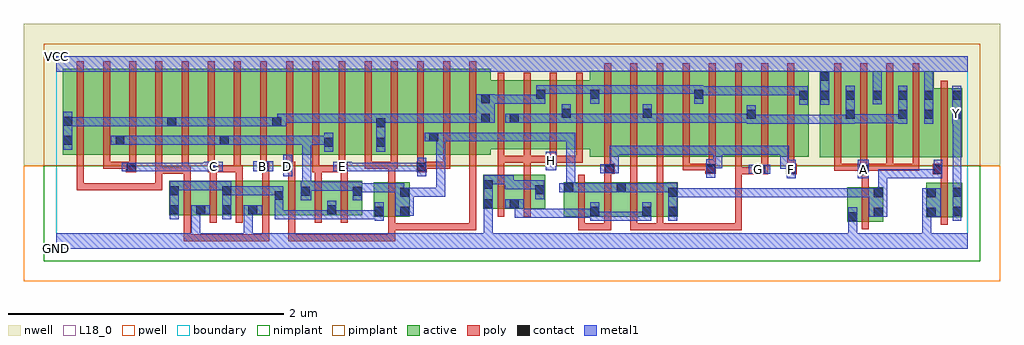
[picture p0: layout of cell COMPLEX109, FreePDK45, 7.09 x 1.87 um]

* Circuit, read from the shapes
.subckt COMPLEX109 A B C D E F G GND H VCC Y
M1 GND B n1 VSUBS nfet w=0.25u l=0.05u m=2
M2 n1 C GND VSUBS nfet w=0.25u l=0.05u m=2
M3 n2 D n1 VSUBS nfet w=0.25u l=0.05u m=2
M4 n1 E n2 VSUBS nfet w=0.25u l=0.05u m=2
M5 n3 H GND VSUBS nfet w=0.25u l=0.05u m=2
M6 n3 F n2 VSUBS nfet w=0.25u l=0.05u m=2
M7 n3 G n2 VSUBS nfet w=0.25u l=0.05u m=2
M8 n2 A GND VSUBS nfet w=0.25u l=0.05u
M9 Y n2 GND VSUBS nfet w=0.25u l=0.05u
M10 n4 B n5 n6 pfet w=0.625u l=0.05u
M11 n2 C n4 n6 pfet w=0.625u l=0.05u
M12 n7 C n2 n6 pfet w=0.625u l=0.05u
M13 n5 B n7 n6 pfet w=0.625u l=0.05u
M14 n8 B n5 n6 pfet w=0.625u l=0.05u
M15 n2 C n8 n6 pfet w=0.625u l=0.05u
M16 n9 C n2 n6 pfet w=0.625u l=0.05u
M17 n5 B n9 n6 pfet w=0.625u l=0.05u
M18 n10 D n5 n6 pfet w=0.625u l=0.05u
M19 n2 E n10 n6 pfet w=0.625u l=0.05u
M20 n11 E n2 n6 pfet w=0.625u l=0.05u
M21 n5 D n11 n6 pfet w=0.625u l=0.05u
M22 n12 D n5 n6 pfet w=0.625u l=0.05u
M23 n2 E n12 n6 pfet w=0.625u l=0.05u
M24 n13 E n2 n6 pfet w=0.625u l=0.05u
M25 n5 D n13 n6 pfet w=0.625u l=0.05u
M26 n14 H n5 n6 pfet w=0.5u l=0.05u m=4
M27 n15 F n5 n6 pfet w=0.625u l=0.05u
M28 n14 G n15 n6 pfet w=0.625u l=0.05u
M29 n16 G n14 n6 pfet w=0.625u l=0.05u
M30 n5 F n16 n6 pfet w=0.625u l=0.05u
M31 n17 F n5 n6 pfet w=0.625u l=0.05u
M32 n14 G n17 n6 pfet w=0.625u l=0.05u
M33 n18 G n14 n6 pfet w=0.625u l=0.05u
M34 n5 F n18 n6 pfet w=0.625u l=0.05u
M35 n14 A VCC n6 pfet w=0.625u l=0.05u m=4
M36 Y n2 VCC n6 pfet w=0.5u l=0.05u
.ends

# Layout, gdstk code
import gdstk
lib = gdstk.Library(unit=1e-6, precision=1e-09)
def R(c, l, rs):  # rectangles x0, y0, x1, y1
    for r in rs: c.add(gdstk.rectangle(r[:2], r[2:], *l))
def A(c, l, x, y, w, h, nx, ny, dx, dy):  # array of equal rectangles
    R(c, l, [(x+i*dx, y+j*dy, x+i*dx+w, y+j*dy+h) for i in range(nx) for j in range(ny)])
active = (1, 0)
pwell = (2, 0)
nwell = (3, 0)
nimplant = (4, 0)
pimplant = (5, 0)
poly = (9, 0)
contact = (10, 0)
metal1 = (11, 0)
L18_0 = (18, 0)
boundary = (235, 0)

complex109 = lib.new_cell('COMPLEX109')
A(complex109, active, 0.82, 0.245, 0.265, 0.25, 4, 1, 0.19, 0)
A(complex109, active, 4.48, 0.67, 0.225, 0.625, 3, 1, 0.38, 0)
R(complex109, active, [(5.747,0.197,5.822,0.447), (5.747,0.197,6.007,0.447), (5.932,0.2,6.007,0.447), (6.32,0.23,6.395,0.48), (6.32,0.23,6.58,0.48), (6.505,0.23,6.58,0.48), (2.307,0.235,2.382,0.485), (2.307,0.235,2.567,0.485), (2.492,0.235,2.567,0.485), (3.685,0.235,3.95,0.485), (3.875,0.235,4.14,0.485), (3.875,0.235,3.95,0.405), (4.065,0.235,4.325,0.485), (4.25,0.235,4.515,0.485), (4.25,0.235,4.325,0.387), (4.44,0.235,4.515,0.485), (0.82,0.245,0.895,0.495), (1.01,0.245,1.085,0.387), (1.2,0.245,1.275,0.495), (1.39,0.245,1.465,0.387), (1.58,0.245,1.847,0.495), (1.772,0.245,2.037,0.495), (1.962,0.245,2.222,0.495), (1.962,0.245,2.037,0.467), (1.58,0.28,1.655,0.425), (3.1,0.29,3.175,0.54), (3.1,0.29,3.365,0.54), (3.29,0.29,3.365,0.54), (3.29,0.29,3.55,0.54), (1.772,0.297,1.847,0.457), (2.147,0.297,2.222,0.495), (3.475,0.297,3.55,0.54), (3.685,0.297,3.76,0.485), (4.065,0.297,4.14,0.48), (5.545,0.667,5.805,1.292), (5.545,0.667,5.62,1.292), (5.73,0.667,6,1.292), (5.925,0.667,6.185,1.292), (6.11,0.667,6.375,1.292), (6.3,0.667,6.58,1.167), (6.505,0.667,6.58,1.157), (3.875,0.67,4.1,1.295), (4.1,0.67,4.33,1.295), (4.255,0.67,4.48,1.295), (4.63,0.67,4.86,1.295), (5.01,0.67,5.24,1.295), (5.39,0.67,5.465,1.2), (0.045,0.682,0.27,1.307), (0.045,0.682,0.15,1.2), (0.27,0.682,0.5,1.307), (0.425,0.682,0.65,1.307), (0.425,0.682,0.5,1.07), (0.65,0.682,0.877,1.307), (0.802,0.682,0.877,1.2), (0.802,0.682,1.03,1.307), (1.03,0.682,1.257,1.307), (1.182,0.682,1.257,1.07), (1.182,0.682,1.41,1.307), (1.41,0.682,1.64,1.307), (1.565,0.682,1.64,1.2), (1.565,0.682,1.79,1.307), (1.79,0.682,2.015,1.307), (1.94,0.682,2.17,1.307), (1.94,0.682,2.015,1.07), (2.17,0.682,2.395,1.307), (2.32,0.682,2.395,1.2), (2.32,0.682,2.55,1.307), (2.55,0.682,2.78,1.307), (2.705,0.682,2.93,1.307), (2.705,0.682,2.78,1.07), (2.93,0.682,3.155,1.307), (4.255,0.682,4.33,1.07), (4.63,0.682,4.705,1.2), (5.01,0.682,5.085,1.07), (5.73,0.682,5.805,1.2), (5.925,0.682,6,1.282), (6.11,0.682,6.185,1.2), (3.08,0.725,3.365,1.225), (3.29,0.725,3.555,1.225), (3.48,0.725,3.74,1.225), (3.665,0.725,3.95,1.225), (3.48,0.737,3.555,1.16), (3.08,0.807,3.155,1.2), (3.29,0.807,3.365,1.07), (3.665,0.807,3.74,1.07), (3.875,0.807,3.95,1.2), (6.3,0.807,6.375,1.157)])
R(complex109, pwell, [(-0.235,-0.235,6.855,0.602)])
R(complex109, nwell, [(-0.235,0.602,6.855,1.635)])
R(complex109, nimplant, [(-0.09,-0.09,6.71,0.602)])
R(complex109, pimplant, [(-0.09,0.602,6.71,1.49)])
A(complex109, poly, 3.79, 0.135, 0.05, 0.095, 4, 1, 0.19, 0)
A(complex109, poly, 3.79, 0.135, 0.05, 0.05, 3, 1, 0.19, 0)
A(complex109, poly, 3.79, 0.18, 0.05, 0.36, 4, 1, 0.19, 0)
A(complex109, poly, 0.925, 0.19, 0.05, 0.36, 5, 1, 0.19, 0)
A(complex109, poly, 1.115, 0.5, 0.05, 0.107, 4, 1, 0.19, 0)
A(complex109, poly, 5.65, 0.567, 0.05, 0.095, 4, 1, 0.19, 0)
A(complex109, poly, 4.36, 0.57, 0.05, 0.095, 3, 1, 0.19, 0)
A(complex109, poly, 2.05, 0.582, 0.05, 0.095, 5, 1, 0.19, 0)
A(complex109, poly, 5.65, 0.612, 0.05, 0.735, 4, 1, 0.19, 0)
A(complex109, poly, 3.98, 0.615, 0.05, 0.735, 8, 1, 0.19, 0)
A(complex109, poly, 3.205, 0.625, 0.05, 0.095, 4, 1, 0.19, 0)
A(complex109, poly, 0.15, 0.627, 0.05, 0.735, 16, 1, 0.19, 0)
A(complex109, poly, 3.205, 0.67, 0.05, 0.61, 4, 1, 0.19, 0)
R(complex109, poly, [(0.925,0.057,0.975,0.107), (0.925,0.057,0.975,0.24), (0.925,0.057,1.045,0.107), (0.995,0.057,1.045,0.107), (0.995,0.057,1.107,0.107), (1.057,0.057,1.107,0.107), (1.057,0.057,1.387,0.107), (1.337,0.057,1.387,0.107), (1.337,0.057,1.387,0.107), (1.337,0.057,1.387,0.107), (1.337,0.057,1.545,0.107), (1.495,0.057,1.545,0.107), (1.495,0.057,1.545,0.107), (1.495,0.057,1.545,0.107), (1.495,0.057,1.545,0.24), (1.685,0.057,1.735,0.107), (1.685,0.057,1.735,0.107), (1.685,0.057,1.735,0.107), (1.685,0.057,1.96,0.107), (1.685,0.057,1.735,0.24), (1.91,0.057,1.96,0.107), (1.91,0.057,1.96,0.107), (1.91,0.057,1.96,0.107), (1.91,0.057,2.157,0.107), (2.107,0.057,2.157,0.107), (2.107,0.057,2.157,0.107), (2.107,0.057,2.157,0.107), (2.107,0.057,2.33,0.107), (2.28,0.057,2.33,0.107), (2.28,0.057,2.33,0.107), (2.28,0.057,2.33,0.107), (2.28,0.057,2.462,0.107), (2.412,0.057,2.462,0.185), (2.412,0.135,2.462,0.23), (2.412,0.135,2.595,0.185), (2.545,0.135,2.595,0.185), (2.545,0.135,2.595,0.185), (2.545,0.135,2.595,0.185), (2.545,0.135,2.825,0.185), (2.775,0.135,2.825,0.185), (2.775,0.135,2.825,0.185), (2.775,0.135,2.825,0.185), (2.775,0.135,3.05,0.185), (3,0.135,3.05,0.185), (3,0.135,3.05,0.185), (3,0.135,3.05,0.185), (3,0.135,3.05,0.185), (3,0.135,3.05,0.185), (3,0.135,3.05,0.185), (3,0.135,3.05,0.185), (3,0.135,3.05,0.185), (3,0.135,3.05,0.185), (3,0.135,3.05,0.677), (3.79,0.135,3.84,0.185), (3.79,0.135,3.84,0.185), (3.79,0.135,4.03,0.185), (4.17,0.135,4.22,0.185), (4.17,0.135,4.22,0.185), (4.17,0.135,4.41,0.185), (4.36,0.135,4.41,0.185), (4.36,0.135,4.41,0.185), (4.36,0.135,4.41,0.185), (4.36,0.135,4.542,0.185), (4.492,0.135,4.542,0.185), (4.492,0.135,4.542,0.185), (4.492,0.135,4.542,0.185), (4.492,0.135,4.847,0.185), (4.797,0.135,4.847,0.185), (4.797,0.135,4.847,0.185), (4.797,0.135,4.847,0.185), (4.797,0.135,4.98,0.185), (4.93,0.135,4.98,0.185), (4.93,0.135,4.98,0.185), (4.93,0.135,4.98,0.185), (4.93,0.135,4.98,0.592), (5.852,0.142,5.902,0.502), (6.425,0.175,6.475,0.535), (2.412,0.18,2.462,0.54), (1.877,0.19,1.927,0.55), (2.067,0.19,2.117,0.55), (3.205,0.235,3.255,0.595), (3.395,0.235,3.445,0.595), (0.15,0.425,0.2,0.475), (0.15,0.425,0.2,0.475), (0.15,0.425,0.2,0.475), (0.15,0.425,0.2,0.475), (0.15,0.425,0.2,0.475), (0.15,0.425,0.2,0.475), (0.15,0.425,0.2,0.475), (0.15,0.425,0.332,0.475), (0.15,0.425,0.2,0.677), (0.282,0.425,0.332,0.475), (0.282,0.425,0.637,0.475), (0.587,0.425,0.637,0.475), (0.587,0.425,0.637,0.475), (0.587,0.425,0.637,0.475), (0.587,0.425,0.77,0.475), (0.72,0.425,0.77,0.475), (0.72,0.425,0.77,0.475), (0.72,0.425,0.77,0.475), (0.72,0.425,0.77,0.475), (0.72,0.425,0.77,0.475), (0.72,0.425,0.77,0.595), (5.852,0.452,5.902,0.592), (6.425,0.485,6.475,0.592), (2.412,0.49,2.462,0.632), (3.98,0.49,4.03,0.595), (4.17,0.49,4.22,0.585), (4.36,0.49,4.41,0.62), (0.925,0.5,0.975,0.595), (1.877,0.5,1.927,0.607), (2.067,0.5,2.117,0.607), (4.17,0.535,4.22,0.585), (4.17,0.535,4.22,0.665), (4.93,0.542,4.98,0.592), (4.93,0.542,4.98,0.592), (4.93,0.542,4.98,0.592), (4.93,0.542,4.98,0.592), (4.93,0.542,4.98,0.592), (4.93,0.542,5.13,0.592), (4.93,0.542,4.98,0.665), (5.08,0.542,5.17,0.617), (5.302,0.542,5.377,0.617), (5.827,0.542,5.902,0.617), (6.367,0.542,6.475,0.617), (0.72,0.545,0.77,0.595), (0.72,0.545,0.77,0.677), (0.72,0.545,0.912,0.595), (0.862,0.545,0.912,0.595), (0.862,0.545,0.96,0.595), (0.91,0.545,0.975,0.595), (0.91,0.545,0.96,0.677), (3.205,0.545,3.255,0.675), (3.395,0.545,3.445,0.675), (3.98,0.545,4.055,0.62), (4.715,0.545,4.79,0.62), (0.505,0.557,0.58,0.632), (1.1,0.557,1.177,0.632), (1.127,0.557,1.177,0.607), (1.127,0.557,1.177,0.607), (1.127,0.557,1.34,0.607), (1.29,0.557,1.34,0.677), (1.29,0.557,1.355,0.607), (1.47,0.557,1.545,0.632), (1.642,0.557,1.735,0.632), (1.86,0.557,1.91,0.677), (1.86,0.557,1.927,0.607), (1.877,0.557,1.927,0.607), (1.877,0.557,1.927,0.607), (1.877,0.557,2.092,0.607), (2.042,0.557,2.117,0.632), (2.617,0.557,2.692,0.632), (5.12,0.567,5.17,0.665), (5.31,0.567,5.36,0.665), (5.65,0.567,5.7,0.617), (5.65,0.567,5.7,0.617), (5.65,0.567,5.7,0.617), (5.65,0.567,5.877,0.617), (5.852,0.567,5.902,0.617), (5.852,0.567,5.902,0.617), (5.852,0.567,6.08,0.617), (6.03,0.567,6.08,0.617), (6.03,0.567,6.27,0.617), (6.22,0.567,6.27,0.617), (6.22,0.567,6.27,0.617), (6.22,0.567,6.27,0.617), (6.425,0.567,6.475,0.662), (3.98,0.57,4.03,0.665), (4.36,0.57,4.41,0.62), (4.55,0.57,4.6,0.62), (4.55,0.57,4.6,0.62), (4.55,0.57,4.6,0.62), (4.55,0.57,4.765,0.62), (0.34,0.582,0.39,0.677), (0.34,0.582,0.39,0.632), (0.34,0.582,0.555,0.632), (0.505,0.582,0.555,0.632), (0.505,0.582,0.555,0.632), (0.53,0.582,0.58,0.677), (1.1,0.582,1.15,0.677), (1.48,0.582,1.53,0.677), (1.67,0.582,1.72,0.677), (2.24,0.582,2.29,0.632), (2.24,0.582,2.462,0.632), (2.412,0.582,2.462,0.632), (2.412,0.582,2.462,0.632), (2.412,0.582,2.48,0.632), (2.642,0.582,2.86,0.632), (2.81,0.582,2.86,0.632), (2.81,0.582,2.86,0.632), (2.81,0.582,2.86,0.632), (3.56,0.6,3.635,0.675), (6.425,0.612,6.475,1.222), (3.205,0.625,3.255,0.675), (3.205,0.625,3.255,0.675), (3.205,0.625,3.255,0.675), (3.205,0.625,3.445,0.675), (3.395,0.625,3.445,0.675), (3.395,0.625,3.445,0.675), (3.395,0.625,3.445,0.675), (3.395,0.625,3.61,0.675), (3.585,0.625,3.635,0.675), (3.585,0.625,3.635,0.675), (3.585,0.625,3.825,0.675), (3.775,0.625,3.825,0.675)])
A(complex109, contact, 0.825, 0.25, 0.065, 0.065, 3, 1, 0.19, 0)
R(complex109, contact, [(5.752,0.202,5.817,0.267), (5.937,0.235,6.002,0.3), (6.325,0.235,6.39,0.3), (2.312,0.24,2.377,0.305), (2.497,0.24,2.562,0.305), (3.88,0.24,3.945,0.305), (4.255,0.24,4.32,0.305), (4.445,0.24,4.51,0.305), (6.51,0.24,6.575,0.305), (1.967,0.25,2.032,0.315), (1.395,0.252,1.46,0.317), (3.105,0.295,3.17,0.36), (3.295,0.295,3.36,0.36), (1.585,0.355,1.65,0.42), (5.937,0.375,6.002,0.44), (6.325,0.375,6.39,0.44), (2.497,0.38,2.562,0.445), (4.445,0.38,4.51,0.445), (6.51,0.38,6.575,0.445), (1.777,0.387,1.842,0.452), (2.152,0.387,2.217,0.452), (0.825,0.39,0.89,0.455), (1.205,0.39,1.27,0.455), (3.48,0.397,3.545,0.462), (4.07,0.41,4.135,0.475), (3.69,0.412,3.755,0.477), (3.105,0.435,3.17,0.5), (5.085,0.547,5.15,0.612), (5.307,0.547,5.372,0.612), (5.832,0.547,5.897,0.612), (6.372,0.547,6.437,0.612), (3.985,0.55,4.05,0.615), (4.72,0.55,4.785,0.615), (0.51,0.562,0.575,0.627), (1.107,0.562,1.172,0.627), (1.475,0.562,1.54,0.627), (1.647,0.562,1.712,0.627), (2.047,0.562,2.112,0.627), (2.622,0.562,2.687,0.627), (3.565,0.605,3.63,0.67), (1.945,0.742,2.01,0.807), (2.325,0.742,2.39,0.807), (0.05,0.755,0.115,0.82), (0.43,0.755,0.495,0.82), (1.187,0.755,1.252,0.82), (2.71,0.78,2.775,0.845), (2.325,0.882,2.39,0.947), (0.807,0.892,0.872,0.957), (1.57,0.892,1.635,0.957), (0.05,0.895,0.115,0.96), (3.085,0.917,3.15,0.982), (3.295,0.917,3.36,0.982), (5.015,0.945,5.08,1.01), (5.735,0.945,5.8,1.01), (6.115,0.945,6.18,1.01), (6.305,0.945,6.37,1.01), (6.51,0.945,6.575,1.01), (3.67,0.952,3.735,1.017), (4.26,0.952,4.325,1.017), (3.085,1.057,3.15,1.122), (5.395,1.082,5.46,1.147), (5.55,1.082,5.615,1.147), (5.735,1.085,5.8,1.15), (5.93,1.085,5.995,1.15), (6.115,1.085,6.18,1.15), (6.305,1.085,6.37,1.15), (6.51,1.085,6.575,1.15), (3.485,1.09,3.55,1.155), (3.88,1.09,3.945,1.155), (4.635,1.09,4.7,1.155), (5.55,1.222,5.615,1.287)])
R(complex109, metal1, [(0,0,6.62,0.115), (0.98,0.05,1.045,0.115), (0.98,0.05,1.045,0.115), (0.98,0.05,1.045,0.315), (1.36,0.05,1.425,0.115), (1.36,0.05,1.425,0.115), (1.36,0.05,1.425,0.115), (1.36,0.05,1.425,0.115), (1.36,0.05,1.425,0.317), (3.105,0.05,3.17,0.325), (5.752,0.05,5.817,0.115), (5.752,0.05,5.817,0.115), (5.752,0.05,5.817,0.232), (6.29,0.05,6.355,0.3), (5.752,0.167,5.817,0.232), (5.752,0.167,5.817,0.232), (5.752,0.167,5.817,0.302), (2.312,0.205,2.377,0.34), (3.88,0.205,3.945,0.27), (3.88,0.205,3.945,0.27), (3.88,0.205,3.945,0.34), (3.88,0.205,4.182,0.27), (4.117,0.205,4.182,0.27), (4.117,0.205,4.222,0.27), (4.157,0.205,4.222,0.27), (4.157,0.205,4.32,0.27), (4.255,0.205,4.32,0.34), (4.445,0.205,4.51,0.48), (6.51,0.205,6.575,0.48), (0.825,0.215,0.89,0.49), (1.205,0.215,1.27,0.49), (1.585,0.215,1.65,0.28), (1.585,0.215,1.65,0.28), (1.585,0.215,1.65,0.28), (1.585,0.215,1.85,0.28), (1.585,0.215,1.65,0.385), (1.785,0.215,1.85,0.28), (1.785,0.215,1.85,0.28), (1.785,0.215,1.85,0.28), (1.785,0.215,2.032,0.28), (1.967,0.215,2.032,0.28), (1.967,0.215,2.032,0.28), (1.967,0.215,2.032,0.35), (1.967,0.215,2.17,0.28), (2.105,0.215,2.17,0.28), (2.105,0.215,2.377,0.28), (2.312,0.215,2.377,0.28), (2.312,0.215,2.377,0.28), (3.33,0.225,3.395,0.36), (3.33,0.225,3.545,0.29), (3.48,0.225,3.545,0.29), (3.48,0.225,3.652,0.29), (3.587,0.225,3.652,0.29), (3.587,0.225,3.807,0.29), (3.742,0.225,3.807,0.29), (3.742,0.225,3.807,0.29), (3.742,0.225,3.807,0.29), (3.742,0.225,3.945,0.29), (5.902,0.235,6.037,0.44), (6.29,0.235,6.355,0.3), (6.29,0.235,6.355,0.3), (6.29,0.235,6.355,0.3), (6.29,0.235,6.355,0.3), (6.29,0.235,6.425,0.44), (2.462,0.24,2.597,0.445), (0.98,0.25,1.045,0.315), (0.98,0.25,1.045,0.315), (0.98,0.25,1.115,0.315), (1.36,0.252,1.495,0.317), (3.105,0.26,3.17,0.325), (3.105,0.26,3.17,0.325), (3.105,0.26,3.17,0.325), (3.105,0.26,3.17,0.325), (3.105,0.26,3.17,0.535), (3.26,0.295,3.395,0.36), (3.33,0.295,3.395,0.36), (1.585,0.32,1.65,0.455), (1.777,0.352,1.85,0.487), (2.152,0.352,2.217,0.487), (3.48,0.362,3.545,0.497), (4.445,0.375,4.51,0.44), (4.445,0.375,4.51,0.44), (4.445,0.375,4.647,0.44), (4.582,0.375,4.647,0.44), (4.582,0.375,4.647,0.44), (4.582,0.375,4.647,0.44), (4.582,0.375,4.942,0.44), (4.877,0.375,4.942,0.44), (4.877,0.375,4.942,0.44), (4.877,0.375,4.942,0.44), (4.877,0.375,5.097,0.44), (5.032,0.375,5.097,0.44), (5.032,0.375,5.097,0.44), (5.032,0.375,5.097,0.44), (5.032,0.375,5.235,0.44), (5.17,0.375,5.235,0.44), (5.17,0.375,5.46,0.44), (5.395,0.375,5.46,0.44), (5.395,0.375,5.46,0.44), (5.395,0.375,5.46,0.44), (5.395,0.375,5.615,0.44), (5.55,0.375,5.615,0.44), (5.55,0.375,5.615,0.44), (5.55,0.375,5.615,0.44), (5.55,0.375,5.83,0.44), (5.765,0.375,5.83,0.44), (5.765,0.375,5.967,0.44), (5.902,0.375,5.967,0.44), (5.902,0.375,5.967,0.44), (5.972,0.375,6.037,0.577), (2.462,0.38,2.527,0.445), (2.462,0.38,2.527,0.477), (2.532,0.38,2.825,0.445), (2.76,0.38,2.825,0.445), (2.76,0.38,2.825,0.445), (2.76,0.38,2.825,0.445), (2.76,0.38,2.825,0.445), (2.76,0.38,2.825,0.445), (2.76,0.38,2.825,0.845), (1.205,0.39,1.27,0.455), (1.205,0.39,1.27,0.455), (1.205,0.39,1.462,0.455), (1.397,0.39,1.462,0.455), (1.397,0.39,1.462,0.455), (1.397,0.39,1.462,0.455), (1.397,0.39,1.65,0.455), (4.035,0.41,4.17,0.477), (2.152,0.412,2.355,0.477), (2.29,0.412,2.355,0.477), (2.29,0.412,2.355,0.477), (2.29,0.412,2.355,0.477), (2.29,0.412,2.527,0.477), (3.655,0.412,3.79,0.477), (3.705,0.412,3.77,0.477), (3.705,0.412,3.77,0.477), (3.705,0.412,3.77,0.845), (3.725,0.412,3.79,0.477), (3.725,0.412,3.79,0.477), (3.725,0.412,3.947,0.477), (3.882,0.412,3.947,0.477), (3.882,0.412,3.947,0.477), (3.882,0.412,3.947,0.477), (3.882,0.412,4.1,0.477), (4.105,0.412,4.222,0.477), (4.157,0.412,4.222,0.477), (4.157,0.412,4.36,0.477), (4.295,0.412,4.36,0.477), (4.295,0.412,4.36,0.477), (4.295,0.412,4.36,0.477), (4.295,0.412,4.51,0.477), (6.51,0.415,6.575,0.975), (6.51,0.415,6.575,0.48), (6.51,0.415,6.575,0.48), (6.51,0.415,6.575,0.48), (6.51,0.415,6.575,0.48), (6.51,0.415,6.575,0.48), (6.51,0.415,6.575,0.48), (6.51,0.415,6.575,0.48), (6.51,0.415,6.575,0.48), (1.785,0.422,1.895,0.487), (1.785,0.422,1.85,0.82), (1.83,0.422,1.895,0.487), (1.83,0.422,2.032,0.487), (1.967,0.422,2.032,0.487), (1.967,0.422,2.032,0.487), (1.967,0.422,2.032,0.487), (1.967,0.422,2.217,0.487), (0.825,0.425,0.89,0.49), (0.825,0.425,0.89,0.49), (0.825,0.425,1.045,0.49), (0.98,0.425,1.045,0.49), (0.98,0.425,1.045,0.49), (0.98,0.425,1.045,0.49), (0.98,0.425,1.27,0.49), (3.257,0.432,3.412,0.497), (3.257,0.432,3.322,0.535), (3.347,0.432,3.412,0.497), (3.347,0.432,3.545,0.497), (3.105,0.47,3.17,0.535), (3.105,0.47,3.17,0.535), (3.105,0.47,3.257,0.535), (3.192,0.47,3.257,0.535), (3.192,0.47,3.322,0.535), (5.307,0.512,5.372,0.647), (5.82,0.512,5.9,0.647), (5.972,0.512,6.037,0.577), (5.972,0.512,6.105,0.577), (6.04,0.512,6.105,0.577), (6.04,0.512,6.217,0.577), (6.152,0.512,6.217,0.577), (6.152,0.512,6.242,0.577), (6.177,0.512,6.242,0.577), (6.177,0.512,6.435,0.577), (6.37,0.512,6.435,0.577), (6.37,0.512,6.437,0.577), (6.372,0.512,6.437,0.647), (4.72,0.515,4.785,0.65), (1.647,0.527,1.712,0.682), (2.622,0.527,2.687,0.662), (5.03,0.547,5.185,0.612), (3.95,0.55,4.085,0.615), (4.02,0.55,4.085,0.615), (4.02,0.55,4.085,0.615), (4.02,0.55,4.085,0.75), (0.475,0.562,0.61,0.627), (0.545,0.562,0.7,0.627), (0.635,0.562,0.7,0.627), (0.635,0.562,0.747,0.627), (0.682,0.562,0.747,0.627), (0.682,0.562,0.885,0.627), (0.82,0.562,0.885,0.627), (0.82,0.562,0.885,0.627), (0.82,0.562,0.885,0.627), (0.82,0.562,1.045,0.627), (0.98,0.562,1.045,0.627), (0.98,0.562,1.137,0.627), (1.072,0.562,1.207,0.632), (1.432,0.562,1.575,0.635), (2.012,0.562,2.147,0.632), (2.082,0.562,2.17,0.627), (2.105,0.562,2.17,0.627), (2.105,0.562,2.355,0.627), (2.29,0.562,2.355,0.627), (2.29,0.562,2.355,0.627), (2.29,0.562,2.355,0.627), (2.29,0.562,2.55,0.627), (2.485,0.562,2.55,0.627), (2.485,0.562,2.55,0.627), (2.485,0.562,2.55,0.627), (2.485,0.562,2.687,0.627), (3.555,0.57,3.632,0.707), (5.257,0.582,5.322,0.647), (5.257,0.582,5.372,0.647), (5.257,0.582,5.322,0.75), (4.72,0.585,4.837,0.65), (4.772,0.585,4.837,0.65), (4.772,0.585,4.837,0.75), (4.02,0.685,4.085,0.75), (4.02,0.685,4.222,0.75), (4.157,0.685,4.222,0.75), (4.157,0.685,4.36,0.75), (4.295,0.685,4.36,0.75), (4.295,0.685,4.36,0.75), (4.295,0.685,4.36,0.75), (4.295,0.685,4.51,0.75), (4.445,0.685,4.51,0.75), (4.445,0.685,4.51,0.75), (4.445,0.685,4.51,0.75), (4.445,0.685,4.7,0.75), (4.635,0.685,4.7,0.75), (4.635,0.685,4.7,0.75), (4.635,0.685,4.7,0.75), (4.635,0.685,4.837,0.75), (4.772,0.685,4.837,0.75), (4.772,0.685,4.957,0.75), (4.892,0.685,4.957,0.75), (4.892,0.685,5.097,0.75), (5.032,0.685,5.097,0.75), (5.032,0.685,5.097,0.75), (5.032,0.685,5.097,0.75), (5.032,0.685,5.322,0.75), (5.257,0.685,5.322,0.75), (1.945,0.707,2.01,0.842), (2.325,0.707,2.39,0.982), (0.05,0.72,0.115,0.995), (0.395,0.755,0.53,0.82), (0.465,0.755,0.53,0.82), (0.465,0.755,0.53,0.82), (0.465,0.755,0.667,0.82), (0.602,0.755,0.667,0.82), (0.602,0.755,0.747,0.82), (0.682,0.755,0.747,0.82), (0.682,0.755,0.885,0.82), (0.82,0.755,0.885,0.82), (0.82,0.755,0.885,0.82), (0.82,0.755,0.885,0.82), (0.82,0.755,1.045,0.82), (0.98,0.755,1.045,0.82), (0.98,0.755,1.045,0.82), (0.98,0.755,1.045,0.82), (0.98,0.755,1.217,0.82), (1.152,0.755,1.287,0.82), (1.222,0.755,1.287,0.82), (1.222,0.755,1.287,0.82), (1.222,0.755,1.462,0.82), (1.397,0.755,1.462,0.82), (1.397,0.755,1.462,0.82), (1.397,0.755,1.462,0.82), (1.397,0.755,1.632,0.82), (1.567,0.755,1.632,0.82), (1.567,0.755,1.632,0.82), (1.567,0.755,1.632,0.82), (1.567,0.755,1.85,0.82), (1.785,0.755,1.85,0.82), (1.785,0.755,1.85,0.82), (1.785,0.755,1.85,0.82), (1.785,0.755,1.85,0.82), (1.785,0.755,1.85,0.82), (1.785,0.755,1.895,0.82), (1.83,0.755,1.895,0.82), (1.83,0.755,2.01,0.82), (2.675,0.78,2.825,0.845), (2.76,0.78,2.962,0.845), (2.897,0.78,2.962,0.845), (2.897,0.78,2.962,0.845), (2.897,0.78,2.962,0.845), (2.897,0.78,3.1,0.845), (3.035,0.78,3.1,0.845), (3.035,0.78,3.1,0.845), (3.035,0.78,3.1,0.845), (3.035,0.78,3.257,0.845), (3.192,0.78,3.257,0.845), (3.192,0.78,3.322,0.845), (3.257,0.78,3.322,0.845), (3.257,0.78,3.412,0.845), (3.347,0.78,3.412,0.845), (3.347,0.78,3.545,0.845), (3.48,0.78,3.545,0.845), (3.48,0.78,3.652,0.845), (3.587,0.78,3.652,0.845), (3.587,0.78,3.77,0.845), (3.705,0.78,3.77,0.845), (0.05,0.892,0.115,0.957), (0.05,0.892,0.115,0.957), (0.05,0.892,0.252,0.957), (0.187,0.892,0.252,0.957), (0.187,0.892,0.252,0.957), (0.187,0.892,0.252,0.957), (0.187,0.892,0.53,0.957), (0.465,0.892,0.53,0.957), (0.465,0.892,0.53,0.957), (0.465,0.892,0.53,0.957), (0.465,0.892,0.7,0.957), (0.635,0.892,0.7,0.957), (0.635,0.892,0.747,0.957), (0.682,0.892,0.747,0.957), (0.682,0.892,0.837,0.957), (0.772,0.892,0.907,0.957), (0.842,0.892,0.907,0.957), (0.842,0.892,0.907,0.957), (0.842,0.892,1.045,0.957), (0.98,0.892,1.045,0.957), (0.98,0.892,1.045,0.957), (0.98,0.892,1.045,0.957), (0.98,0.892,1.182,0.957), (1.117,0.892,1.182,0.957), (1.117,0.892,1.182,0.957), (1.117,0.892,1.182,0.957), (1.117,0.892,1.425,0.957), (1.36,0.892,1.425,0.957), (1.36,0.892,1.425,0.957), (1.36,0.892,1.425,0.957), (1.36,0.892,1.6,0.957), (1.535,0.892,1.67,0.957), (1.605,0.892,1.67,0.957), (1.605,0.892,1.67,0.98), (5.015,0.91,5.08,1.045), (5.015,0.91,5.235,0.975), (5.17,0.91,5.235,0.975), (5.17,0.91,5.235,0.975), (5.17,0.91,5.235,0.975), (5.17,0.91,5.477,0.975), (5.412,0.91,5.477,0.975), (5.412,0.91,5.477,0.975), (5.412,0.91,5.477,0.975), (5.412,0.91,5.615,0.975), (5.55,0.91,5.615,0.975), (5.55,0.91,5.615,0.975), (5.55,0.91,5.615,0.975), (5.55,0.91,5.8,0.975), (5.735,0.91,5.8,1.185), (6.115,0.91,6.18,1.185), (6.305,0.91,6.37,1.185), (6.507,0.91,6.575,1.185), (5.735,0.912,5.967,0.977), (5.902,0.912,5.967,0.977), (5.902,0.912,5.967,0.977), (5.902,0.912,5.967,0.977), (5.902,0.912,6.105,0.977), (6.04,0.912,6.105,0.977), (6.04,0.912,6.18,0.977), (1.605,0.915,1.85,0.98), (1.785,0.915,1.85,0.98), (1.785,0.915,1.85,0.98), (1.785,0.915,1.85,0.98), (1.785,0.915,1.987,0.98), (1.922,0.915,1.987,0.98), (1.922,0.915,2.17,0.98), (2.105,0.915,2.17,0.98), (2.105,0.915,2.17,0.98), (2.105,0.915,2.17,0.98), (2.105,0.915,2.39,0.98), (2.325,0.915,2.39,0.98), (2.325,0.915,2.39,0.98), (2.325,0.917,2.527,0.982), (2.462,0.917,2.527,0.982), (2.462,0.917,2.527,0.982), (2.462,0.917,2.527,0.982), (2.462,0.917,2.825,0.982), (2.76,0.917,2.825,0.982), (2.76,0.917,2.825,0.982), (2.76,0.917,2.825,0.982), (2.76,0.917,2.962,0.982), (2.897,0.917,2.962,0.982), (2.897,0.917,2.962,0.982), (2.897,0.917,2.962,0.982), (2.897,0.917,3.115,0.982), (3.05,0.917,3.115,0.982), (3.05,0.917,3.115,0.982), (3.05,0.917,3.185,1.122), (3.26,0.917,3.395,0.982), (3.33,0.917,3.395,0.982), (3.33,0.917,3.395,0.982), (3.33,0.917,3.545,0.982), (3.48,0.917,3.545,0.982), (3.48,0.917,3.632,0.982), (3.567,0.917,3.632,0.982), (3.567,0.917,3.735,0.982), (3.67,0.917,3.735,1.052), (3.67,0.917,3.79,0.982), (3.725,0.917,3.79,0.982), (3.725,0.917,3.947,0.982), (3.882,0.917,3.947,0.982), (3.882,0.917,4.085,0.982), (4.02,0.917,4.085,0.982), (4.02,0.917,4.085,0.982), (4.02,0.917,4.085,0.982), (4.02,0.917,4.222,0.982), (4.157,0.917,4.222,0.982), (4.157,0.917,4.325,0.982), (4.26,0.917,4.325,1.052), (4.26,0.917,4.36,0.982), (4.295,0.917,4.36,0.982), (4.295,0.917,4.51,0.982), (4.445,0.917,4.51,0.982), (4.445,0.917,4.51,0.982), (4.445,0.917,4.51,0.982), (4.445,0.917,4.7,0.982), (4.635,0.917,4.7,0.982), (4.635,0.917,4.7,0.982), (4.635,0.917,4.7,0.982), (4.635,0.917,4.837,0.982), (4.772,0.917,4.837,0.982), (4.772,0.917,4.957,0.982), (4.892,0.917,4.957,0.982), (4.892,0.917,5.08,0.982), (5.395,1.047,5.46,1.182), (5.55,1.047,5.615,1.322), (5.93,1.05,5.995,1.185), (3.12,1.055,3.252,1.12), (3.187,1.055,3.252,1.12), (3.187,1.055,3.407,1.12), (3.342,1.055,3.407,1.12), (3.342,1.055,3.407,1.12), (3.342,1.055,3.407,1.12), (3.342,1.055,3.55,1.12), (3.485,1.055,3.55,1.19), (3.88,1.055,3.945,1.19), (4.635,1.055,4.7,1.19), (4.635,1.117,4.7,1.182), (4.635,1.117,4.7,1.182), (4.635,1.117,4.922,1.182), (4.857,1.117,4.922,1.182), (4.857,1.117,4.922,1.182), (4.857,1.117,4.922,1.182), (4.857,1.117,5.097,1.182), (5.032,1.117,5.097,1.182), (5.032,1.117,5.097,1.182), (5.032,1.117,5.097,1.182), (5.032,1.117,5.265,1.182), (5.2,1.117,5.265,1.182), (5.2,1.117,5.46,1.182), (5.395,1.117,5.46,1.182), (5.395,1.117,5.46,1.182), (5.93,1.12,5.995,1.35), (6.305,1.12,6.37,1.35), (3.485,1.125,3.55,1.19), (3.485,1.125,3.55,1.19), (3.485,1.125,3.807,1.19), (3.742,1.125,3.807,1.19), (3.742,1.125,3.807,1.19), (3.742,1.125,3.807,1.19), (3.742,1.125,3.945,1.19), (3.88,1.125,3.945,1.19), (3.88,1.125,3.945,1.19), (3.88,1.125,4.182,1.19), (4.117,1.125,4.182,1.19), (4.117,1.125,4.222,1.19), (4.157,1.125,4.222,1.19), (4.157,1.125,4.36,1.19), (4.295,1.125,4.36,1.19), (4.295,1.125,4.36,1.19), (4.295,1.125,4.36,1.19), (4.295,1.125,4.497,1.19), (4.432,1.125,4.497,1.19), (4.432,1.125,4.497,1.19), (4.432,1.125,4.497,1.19), (4.432,1.125,4.7,1.19), (5.55,1.257,5.615,1.35), (0,1.285,6.62,1.4)])
R(complex109, L18_0, [(0,0,6.62,0.115), (0.98,0.05,1.045,0.115), (0.98,0.05,1.045,0.115), (0.98,0.05,1.045,0.315), (1.36,0.05,1.425,0.115), (1.36,0.05,1.425,0.115), (1.36,0.05,1.425,0.115), (1.36,0.05,1.425,0.115), (1.36,0.05,1.425,0.317), (3.105,0.05,3.17,0.325), (5.752,0.05,5.817,0.115), (5.752,0.05,5.817,0.115), (5.752,0.05,5.817,0.232), (6.29,0.05,6.355,0.3), (5.752,0.167,5.817,0.232), (5.752,0.167,5.817,0.232), (5.752,0.167,5.817,0.302), (6.51,0.205,6.575,0.48), (6.29,0.235,6.355,0.3), (6.29,0.235,6.355,0.3), (6.29,0.235,6.355,0.3), (6.29,0.235,6.355,0.3), (6.29,0.235,6.425,0.44), (0.98,0.25,1.115,0.315), (0.98,0.25,1.045,0.315), (0.98,0.25,1.045,0.315), (1.36,0.252,1.495,0.317), (3.105,0.26,3.17,0.325), (3.105,0.26,3.17,0.325), (3.105,0.26,3.17,0.325), (3.105,0.26,3.17,0.325), (3.105,0.26,3.17,0.535), (3.48,0.362,3.545,0.497), (6.51,0.415,6.575,0.48), (6.51,0.415,6.575,0.48), (6.51,0.415,6.575,0.48), (6.51,0.415,6.575,0.48), (6.51,0.415,6.575,0.48), (6.51,0.415,6.575,0.48), (6.51,0.415,6.575,0.48), (6.51,0.415,6.575,0.48), (6.51,0.415,6.575,0.975), (3.257,0.432,3.412,0.497), (3.257,0.432,3.322,0.535), (3.347,0.432,3.412,0.497), (3.347,0.432,3.545,0.497), (3.105,0.47,3.17,0.535), (3.105,0.47,3.17,0.535), (3.105,0.47,3.257,0.535), (3.192,0.47,3.257,0.535), (3.192,0.47,3.322,0.535), (5.307,0.512,5.372,0.647), (5.82,0.512,5.9,0.647), (4.72,0.515,4.785,0.65), (1.647,0.527,1.712,0.682), (2.622,0.527,2.687,0.662), (5.03,0.547,5.185,0.612), (5.067,0.547,5.132,0.612), (5.307,0.547,5.372,0.612), (5.827,0.547,5.892,0.612), (3.95,0.55,4.085,0.615), (4.02,0.55,4.085,0.615), (4.02,0.55,4.085,0.615), (4.02,0.55,4.085,0.75), (0.475,0.562,0.61,0.627), (0.545,0.562,0.7,0.627), (0.635,0.562,0.7,0.627), (0.635,0.562,0.747,0.627), (0.682,0.562,0.747,0.627), (0.682,0.562,0.885,0.627), (0.82,0.562,0.885,0.627), (0.82,0.562,0.885,0.627), (0.82,0.562,0.885,0.627), (0.82,0.562,1.045,0.627), (0.98,0.562,1.045,0.627), (0.98,0.562,1.137,0.627), (1.072,0.562,1.207,0.632), (1.432,0.562,1.575,0.635), (2.012,0.562,2.147,0.632), (2.082,0.562,2.17,0.627), (2.105,0.562,2.17,0.627), (2.105,0.562,2.355,0.627), (2.29,0.562,2.355,0.627), (2.29,0.562,2.355,0.627), (2.29,0.562,2.355,0.627), (2.29,0.562,2.55,0.627), (2.485,0.562,2.55,0.627), (2.485,0.562,2.55,0.627), (2.485,0.562,2.55,0.627), (2.485,0.562,2.687,0.627), (1.107,0.567,1.172,0.632), (1.467,0.567,1.532,0.632), (1.647,0.567,1.712,0.632), (2.047,0.567,2.112,0.632), (3.555,0.57,3.632,0.707), (5.257,0.582,5.322,0.647), (5.257,0.582,5.322,0.75), (5.257,0.582,5.372,0.647), (4.72,0.585,4.837,0.65), (4.772,0.585,4.837,0.65), (4.772,0.585,4.837,0.75), (3.567,0.607,3.632,0.672), (4.02,0.685,4.085,0.75), (4.02,0.685,4.222,0.75), (4.157,0.685,4.222,0.75), (4.157,0.685,4.36,0.75), (4.295,0.685,4.36,0.75), (4.295,0.685,4.36,0.75), (4.295,0.685,4.36,0.75), (4.295,0.685,4.51,0.75), (4.445,0.685,4.51,0.75), (4.445,0.685,4.51,0.75), (4.445,0.685,4.51,0.75), (4.445,0.685,4.7,0.75), (4.635,0.685,4.7,0.75), (4.635,0.685,4.7,0.75), (4.635,0.685,4.7,0.75), (4.635,0.685,4.837,0.75), (4.772,0.685,4.837,0.75), (4.772,0.685,4.957,0.75), (4.892,0.685,4.957,0.75), (4.892,0.685,5.097,0.75), (5.032,0.685,5.097,0.75), (5.032,0.685,5.097,0.75), (5.032,0.685,5.097,0.75), (5.032,0.685,5.322,0.75), (5.257,0.685,5.322,0.75), (6.305,0.91,6.37,1.185), (6.507,0.91,6.575,1.185), (6.507,0.947,6.572,1.012), (5.55,1.047,5.615,1.322), (5.93,1.05,5.995,1.185), (5.93,1.12,5.995,1.35), (6.305,1.12,6.37,1.35), (5.55,1.257,5.615,1.35), (0,1.285,6.62,1.4)])
R(complex109, boundary, [(0,0,6.62,1.4)])
complex109.add(gdstk.Label('A', (5.86,0.58), layer=11, texttype=0))
complex109.add(gdstk.Label('B', (1.5,0.6), layer=11, texttype=0))
complex109.add(gdstk.Label('C', (1.14,0.6), layer=11, texttype=0))
complex109.add(gdstk.Label('D', (1.68,0.6), layer=11, texttype=0))
complex109.add(gdstk.Label('E', (2.08,0.6), layer=11, texttype=0))
complex109.add(gdstk.Label('F', (5.34,0.58), layer=11, texttype=0))
complex109.add(gdstk.Label('G', (5.1,0.58), layer=11, texttype=0))
complex109.add(gdstk.Label('H', (3.6,0.64), layer=11, texttype=0))
complex109.add(gdstk.Label('Y', (6.54,0.98), layer=11, texttype=0))
complex109.add(gdstk.Label('VCC', (0,1.4), layer=11, texttype=0))
complex109.add(gdstk.Label('GND', (0,0), layer=11, texttype=0))

lib.write_gds('COMPLEX109.gds')
